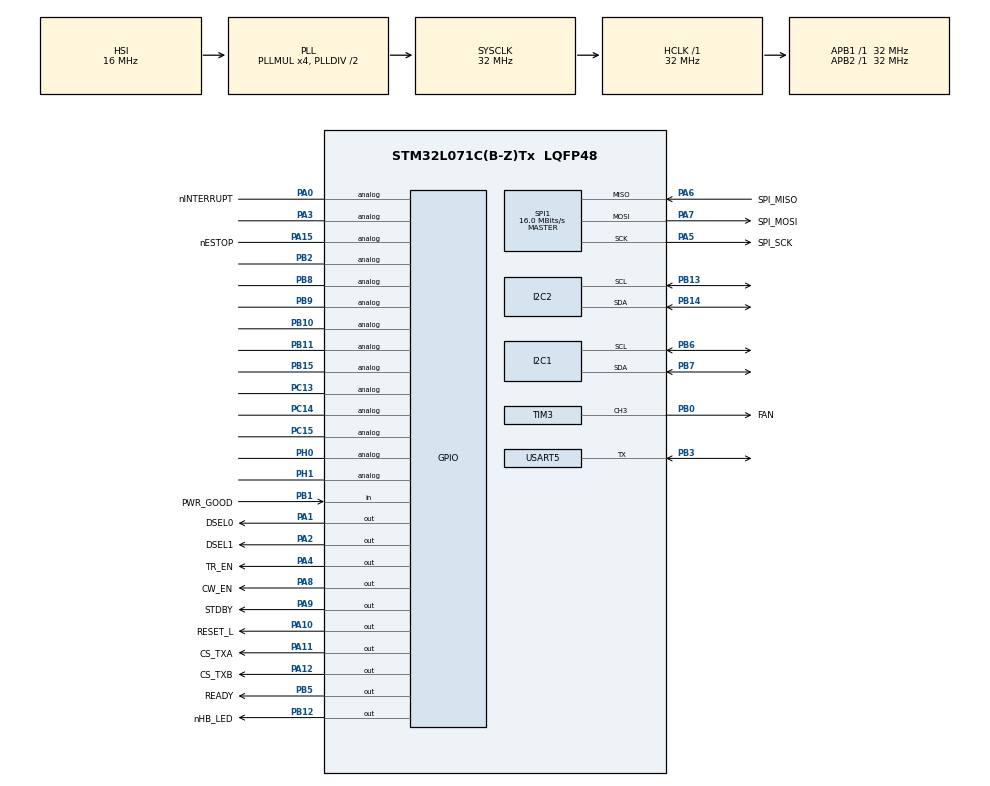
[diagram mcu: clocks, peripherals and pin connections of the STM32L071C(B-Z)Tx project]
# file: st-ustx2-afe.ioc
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CRC.CRCLength=CRC_POLYLENGTH_16B
CRC.DefaultInitValueUse=DEFAULT_INIT_VALUE_DISABLE
CRC.DefaultPolynomialUse=DEFAULT_POLYNOMIAL_DISABLE
CRC.GeneratingPolynomial=X12+X5+X0
CRC.InitValue=0xFFFF
Dma.I2C1_RX.3.Direction=DMA_PERIPH_TO_MEMORY
Dma.I2C1_RX.3.Instance=DMA1_Channel7
Dma.I2C1_RX.3.MemDataAlignment=DMA_MDATAALIGN_BYTE
Dma.I2C1_RX.3.MemInc=DMA_MINC_ENABLE
Dma.I2C1_RX.3.Mode=DMA_NORMAL
Dma.I2C1_RX.3.PeriphDataAlignment=DMA_PDATAALIGN_BYTE
Dma.I2C1_RX.3.PeriphInc=DMA_PINC_DISABLE
Dma.I2C1_RX.3.Priority=DMA_PRIORITY_LOW
Dma.I2C1_TX.2.Direction=DMA_MEMORY_TO_PERIPH
Dma.I2C1_TX.2.Instance=DMA1_Channel6
Dma.I2C1_TX.2.MemDataAlignment=DMA_MDATAALIGN_BYTE
Dma.I2C1_TX.2.MemInc=DMA_MINC_ENABLE
Dma.I2C1_TX.2.Mode=DMA_NORMAL
Dma.I2C1_TX.2.PeriphDataAlignment=DMA_PDATAALIGN_BYTE
Dma.I2C1_TX.2.PeriphInc=DMA_PINC_DISABLE
Dma.I2C1_TX.2.Priority=DMA_PRIORITY_LOW
Dma.Request0=USART5_RX
Dma.Request1=USART5_TX
Dma.Request2=I2C1_TX
Dma.Request3=I2C1_RX
Dma.USART5_RX.0.Direction=DMA_PERIPH_TO_MEMORY
Dma.USART5_RX.0.Instance=DMA1_Channel2
Dma.USART5_RX.0.MemDataAlignment=DMA_MDATAALIGN_BYTE
Dma.USART5_RX.0.MemInc=DMA_MINC_ENABLE
Dma.USART5_RX.0.Mode=DMA_NORMAL
Dma.USART5_RX.0.PeriphDataAlignment=DMA_PDATAALIGN_BYTE
Dma.USART5_RX.0.PeriphInc=DMA_PINC_DISABLE
Dma.USART5_RX.0.Priority=DMA_PRIORITY_LOW
Dma.USART5_TX.1.Direction=DMA_MEMORY_TO_PERIPH
Dma.USART5_TX.1.Instance=DMA1_Channel3
Dma.USART5_TX.1.MemDataAlignment=DMA_MDATAALIGN_BYTE
Dma.USART5_TX.1.MemInc=DMA_MINC_ENABLE
Dma.USART5_TX.1.Mode=DMA_NORMAL
Dma.USART5_TX.1.PeriphDataAlignment=DMA_PDATAALIGN_BYTE
Dma.USART5_TX.1.PeriphInc=DMA_PINC_DISABLE
Dma.USART5_TX.1.Priority=DMA_PRIORITY_LOW
I2C1.GeneralCallMode=I2C_GENERALCALL_DISABLE
I2C1.NoStretchMode=I2C_NOSTRETCH_DISABLE
I2C1.OwnAddress=0
I2C1.Timing=0x00707CBB
I2C2.NoStretchMode=I2C_NOSTRETCH_ENABLE
I2C2.OwnAddress=0x32
I2C2.Timing=0x00707CBB
Mcu.Family=STM32L0
Mcu.Name=STM32L071C(B-Z)Tx
Mcu.Package=LQFP48
NVIC.DMA1_Channel2_3_IRQn=true\:0\:0\:false\:false\:true\:false\:true\:true
NVIC.DMA1_Channel4_5_6_7_IRQn=true\:0\:0\:false\:false\:true\:false\:true\:true
NVIC.I2C1_IRQn=true\:0\:0\:false\:false\:true\:true\:true\:true
NVIC.I2C2_IRQn=true\:0\:0\:false\:false\:true\:true\:true\:true
NVIC.TIM2_IRQn=true\:3\:0\:false\:false\:true\:false\:true\:true
NVIC.TimeBase=TIM2_IRQn
NVIC.TimeBaseIP=TIM2
NVIC.USART4_5_IRQn=true\:0\:0\:false\:false\:true\:true\:true\:true
PA0.GPIO_Label=nINTERRUPT
PA0.Signal=GPIO_Analog
PA1.GPIO_Label=DSEL0
PA1.Signal=GPIO_Output
PA10.GPIO_Label=RESET_L
PA10.Signal=GPIO_Output
PA11.GPIO_Label=CS_TXA
PA11.Signal=GPIO_Output
PA12.GPIO_Label=CS_TXB
PA12.Signal=GPIO_Output
PA13.Mode=Serial_Wire
PA13.Signal=SYS_SWDIO
PA14.Mode=Serial_Wire
PA14.Signal=SYS_SWCLK
PA15.GPIO_Label=nESTOP
PA15.Signal=GPIO_Analog
PA2.GPIO_Label=DSEL1
PA2.Signal=GPIO_Output
PA3.Signal=GPIO_Analog
PA4.GPIO_Label=TR_EN
PA4.Signal=GPIO_Output
PA5.GPIO_Label=SPI_SCK
PA5.Mode=Full_Duplex_Master
PA5.Signal=SPI1_SCK
PA6.GPIO_Label=SPI_MISO
PA6.Mode=Full_Duplex_Master
PA6.Signal=SPI1_MISO
PA7.GPIO_Label=SPI_MOSI
PA7.Mode=Full_Duplex_Master
PA7.Signal=SPI1_MOSI
PA8.GPIO_Label=CW_EN
PA8.Signal=GPIO_Output
PA9.GPIO_Label=STDBY
PA9.Signal=GPIO_Output
PB0.GPIO_Label=FAN
PB0.Signal=S_TIM3_CH3
PB1.GPIO_Label=PWR_GOOD
PB1.Signal=GPIO_Input
PB10.Signal=GPIO_Analog
PB11.Signal=GPIO_Analog
PB12.GPIO_Label=nHB_LED
PB12.Signal=GPIO_Output
PB13.Mode=I2C
PB13.Signal=I2C2_SCL
PB14.Mode=I2C
PB14.Signal=I2C2_SDA
PB15.Signal=GPIO_Analog
PB2.Signal=GPIO_Analog
PB3.Mode=Half_duplex(single_wire_mode)
PB3.Signal=USART5_TX
PB4.Signal=S_TIM22_CH1
PB5.GPIO_Label=READY
PB5.Signal=GPIO_Output
PB6.Mode=I2C
PB6.Signal=I2C1_SCL
PB7.Mode=I2C
PB7.Signal=I2C1_SDA
PB8.Signal=GPIO_Analog
PB9.Signal=GPIO_Analog
PC13.Signal=GPIO_Analog
PC14-OSC32_IN.Signal=GPIO_Analog
PC15-OSC32_OUT.Signal=GPIO_Analog
PH0-OSC_IN.Signal=GPIO_Analog
PH1-OSC_OUT.Signal=GPIO_Analog
ProjectManager.HeapSize=0x200
ProjectManager.StackSize=0x400
ProjectManager.TargetToolchain=STM32CubeIDE
RCC.AHBFreq_Value=32000000
RCC.APB1Freq_Value=32000000
RCC.APB1TimFreq_Value=32000000
RCC.APB2Freq_Value=32000000
RCC.APB2TimFreq_Value=32000000
RCC.HCLKFreq_Value=32000000
RCC.HSE_VALUE=8000000
RCC.HSI16_VALUE=16000000
RCC.HSI_VALUE=16000000
RCC.LSE_VALUE=32768
RCC.MSI_VALUE=2097000
RCC.PLLMUL=RCC_PLLMUL_4
RCC.SYSCLKFreq_VALUE=32000000
RCC.SYSCLKSource=RCC_SYSCLKSOURCE_PLLCLK
RCC.VCOOutputFreq_Value=64000000
SH.S_TIM22_CH1.0=TIM22_CH1
SH.S_TIM3_CH3.0=TIM3_CH3,PWM Generation3 CH3
SPI1.CalculateBaudRate=16.0 MBits/s
SPI1.Direction=SPI_DIRECTION_2LINES
SPI1.Mode=SPI_MODE_MASTER
SPI1.VirtualType=VM_MASTER
TIM3.Channel-PWM\ Generation3\ CH3=TIM_CHANNEL_3
USART5.VirtualMode-Half_duplex(single_wire_mode)=VM_ASYNC
VP_CRC_VS_CRC.Mode=CRC_Activate
VP_SYS_VS_tim2.Mode=TIM2
VP_TIM21_VS_ClockSourceINT.Mode=Internal
board=custom

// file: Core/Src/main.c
/* USER CODE BEGIN Header */
/**
 ******************************************************************************
 * @file           : main.c
 * @brief          : Main program body
 ******************************************************************************
 * @attention
 *
 * Copyright (c) 2023 STMicroelectronics.
 * All rights reserved.
 *
 * This software is licensed under terms that can be found in the LICENSE file
 * in the root directory of this software component.
 * If no LICENSE file comes with this software, it is provided AS-IS.
 *
 ******************************************************************************
 */
/* USER CODE END Header */
#include "main.h"

/* USER CODE BEGIN Includes */
#include "common.h"
#include "i2c_slave.h"
#include "i2c_master.h"
#include "afe_config.h"
#include "config_CDCE6214_64MHZ.h"
#include "utils.h"
#include "logging.h"
#include "tx7332.h"
#include "demo.h"
#include <stdio.h>

/* USER CODE END Includes */

/* USER CODE BEGIN PD */
#define ARRAY_SIZE(arr) (sizeof(arr) / sizeof((arr)[0]))

/* USER CODE END PD */

CRC_HandleTypeDef hcrc;

I2C_HandleTypeDef hi2c1;
I2C_HandleTypeDef hi2c2;
DMA_HandleTypeDef hdma_i2c1_tx;
DMA_HandleTypeDef hdma_i2c1_rx;

SPI_HandleTypeDef hspi1;

TIM_HandleTypeDef htim3;
TIM_HandleTypeDef htim21;

UART_HandleTypeDef huart5;
DMA_HandleTypeDef hdma_usart5_rx;
DMA_HandleTypeDef hdma_usart5_tx;

/* USER CODE BEGIN PV */
DeviceConfig_t myConfig;

TX7332 tx[2];

static uint8_t FIRMWARE_VERSION_DATA[3] = {1, 0, 4};
static uint32_t id_words[3] = {0};

/* USER CODE END PV */

void SystemClock_Config(void);
static void MX_GPIO_Init(void);
static void MX_DMA_Init(void);
static void MX_I2C2_Init(void);
static void MX_SPI1_Init(void);
static void MX_USART5_UART_Init(void);
static void MX_TIM3_Init(void);
static void MX_I2C1_Init(void);
static void MX_CRC_Init(void);
static void MX_TIM21_Init(void);

/* USER CODE BEGIN 0 */

static void PrintI2CSpeed(I2C_HandleTypeDef *hi2c)
{
  uint32_t timing = hi2c->Init.Timing;
  uint32_t pclk = HAL_RCC_GetPCLK1Freq(); // Get the peripheral clock frequency

  // Calculate the I2C speed in Hz
  uint32_t i2c_speed = pclk / ((timing & 0xFFFF) + 1);

  printf("I2C Speed: %ld kHz\r\n", i2c_speed / 10); // Print the I2C speed in kHz
  printf("I2C Slave Addr: 0x%02x\r\n\r\n", (uint8_t)(hi2c->Init.OwnAddress1 >> 1));
}

static bool ConfigureClock()
{

	  HAL_Delay(25);
	  I2C_write_CDCE6214_reg(0x67, 0x0000, 0x1000);
	  HAL_Delay(25);
	  I2C_write_CDCE6214_reg(0x67, 0x000F, 0x5020);
	  HAL_Delay(25);

	  printf("Configuring Clock chip\r\n");
	  // Calculate the number of elements in the array
	  size_t num_elements = sizeof(blur6214_64mhz_values) / sizeof(uint32_t);

	  // Iterate through the array and split each uint32_t value into two uint16_t values
	  for (size_t i = 0; i < num_elements; i++)
	  {
	    uint32_t value = blur6214_64mhz_values[i];

	    // Split the value into upper and lower words
	    uint16_t reg_addr = (uint16_t)(value >> 16); // Upper word is reg_addr
	    uint16_t reg_value = (uint16_t)value;        // Lower word is reg_value

	    // Print the split values
	    if (!I2C_write_CDCE6214_reg(0x67, reg_addr, reg_value))
	    {
	      printf("failed Index %zu: reg_addr = 0x%04X, reg_value = 0x%04X\r\n", i, reg_addr, reg_value);
	      return false;
	    }
	    HAL_Delay(1);
	  }
	  HAL_Delay(100);
	  I2C_write_CDCE6214_reg(0x67, 0x0000, 0x1110);
	  HAL_Delay(100);
	  I2C_write_CDCE6214_reg(0x67, 0x0000, 0x1100);
	  HAL_Delay(50);

	  return true;
}
/* USER CODE END 0 */

int main(void)
{

  /* USER CODE BEGIN 1 */
  I2C_TX_Packet ret_data;
  uint8_t ret_data_buffer[I2C_BUFFER_SIZE] = {0};
  uint32_t reg_data_buff[62] = {0};
  uint16_t address;
  uint32_t value;
  uint8_t reg_count;

  /* USER CODE END 1 */

  /* MCU Configuration--------------------------------------------------------*/

  /* Reset of all peripherals, Initializes the Flash interface and the Systick. */
  HAL_Init();

  /* Configure the system clock */
  SystemClock_Config();

  /* USER CODE BEGIN SysInit */
  loadDeviceConfig(&myConfig);

  /* USER CODE END SysInit */

  /* Initialize all configured peripherals */
  MX_GPIO_Init();
  MX_DMA_Init();
  MX_I2C2_Init();
  MX_SPI1_Init();
  MX_USART5_UART_Init();
  MX_TIM3_Init();
  MX_I2C1_Init();
  MX_CRC_Init();
  MX_TIM21_Init();
  /* USER CODE BEGIN 2 */

  printf("\033c");

  init_dma_logging();
  printf("Openwater USTX2 AFE Development FW v%d.%d.%d\r\n\r\n",FIRMWARE_VERSION_DATA[0], FIRMWARE_VERSION_DATA[1], FIRMWARE_VERSION_DATA[2]);
  printf("EEPROM I2C: 0x%02x\r\n", myConfig.i2c_address);
  printf("CPU Clock Frequency: %lu MHz\r\n", HAL_RCC_GetSysClockFreq() / 1000000);

  // Initializing I2C Slave
  data_available = NULL;
  I2C_Slave_Init(myConfig.i2c_address);
  PrintI2CSpeed(&hi2c1);

  printf("Scanning Local I2C bus\r\n");
  I2C_scan();
  ConfigureClock();

  printf("Initializing TX7332\r\n");
  HAL_GPIO_WritePin(GPIOC, RESET_L_Pin | CW_EN_Pin | STDBY_Pin, GPIO_PIN_RESET);
  HAL_GPIO_WritePin(GPIOA, DSEL0_Pin | DSEL1_Pin | TR_EN_Pin, GPIO_PIN_RESET);
  HAL_GPIO_WritePin(GPIOA, CS_TXA_Pin | CS_TXB_Pin, GPIO_PIN_RESET); // TODO: Verify initial state

  // reset TX7332
  TX7332_Reset();
  HAL_Delay(25);

  // configure CS for TX7332
  TX7332_Init(&tx[0], CS_TXA_GPIO_Port, CS_TXA_Pin);
  TX7332_Init(&tx[1], CS_TXB_GPIO_Port, CS_TXB_Pin);

  HAL_Delay(10);

  HAL_GPIO_WritePin(CW_EN_GPIO_Port, CW_EN_Pin, GPIO_PIN_RESET);
  HAL_GPIO_WritePin(TR_EN_GPIO_Port, TR_EN_Pin, GPIO_PIN_SET);
  HAL_GPIO_WritePin(DSEL0_GPIO_Port, DSEL0_Pin, GPIO_PIN_RESET);
  HAL_GPIO_WritePin(DSEL1_GPIO_Port, DSEL1_Pin, GPIO_PIN_RESET);

  //  printf("Writing Demo Registers\r\n");
  //  write_demo_registers(&tx[0]);
  //  HAL_Delay(10);

#ifdef RUN_TESTS

  for (uint16_t x = 0; x < 86; x++)
  {
    printf("Read R%d: ", x);
    uint16_t reg_val = I2C_read_CDCE6214_reg(0x67, x);
    printf("0x%04x\r\n", reg_val);
  }

  HAL_Delay(25);

  if (crc_test() == 1)
  {
    printf("CRC Test Failed\r\n\r\n");
  }
  else
  {
    printf("CRC Test Passed\r\n\r\n");
  }
#endif

  /* USER CODE END 2 */

  /* Infinite loop */
  while (1)
  {

    /* USER CODE BEGIN 3 */
    memset(ret_data_buffer, 0, I2C_BUFFER_SIZE);
    memset((uint8_t *)&ret_data, 0, sizeof(ret_data));

    if (data_available)
    {
      // Process command
      status_packet->id = data_available->id;
      status_packet->cmd = data_available->cmd;
      status_packet->status = 0xFF;
      status_packet->data_len = 0;

      // print received packet
      // i2c_tx_packet_print(data_available);
      switch (data_available->cmd)
      {
      case OW_CMD_PING:
        // printf("AFE Ping\r\n");
        status_packet->cmd = OW_CMD_PONG;
        status_packet->status = 0x00;
        status_packet->data_len = 0;
        break;
      case OW_CMD_PONG:
    	  // printf("AFE Pong\r\n");
        status_packet->cmd = OW_CMD_PING;
        status_packet->status = 0x00;
        status_packet->data_len = 0;
        break;
      case OW_CMD_TOGGLE_LED:
    	  // printf("Toggling LED\r\n");
        HAL_GPIO_TogglePin(nHB_LED_GPIO_Port, nHB_LED_Pin);
        status_packet->status = 0x00;
        status_packet->data_len = 0;
        break;
      case OW_CMD_ECHO:
    	  // printf("AFE Echo\r\n");
        status_packet->status = 0x00;
        ret_data.cmd = data_available->cmd;
        ret_data.id = data_available->id;
        ret_data.reserved = 0;
        if (data_available->data_len > 0)
        {
          ret_data.data_len = data_available->data_len;
          ret_data.pData = data_available->pData;
        }
        else
        {
          ret_data.data_len = 0;
          ret_data.pData = NULL;
          status_packet->data_len = 0;
        }
        set_transmit_buffer(&ret_data, data_available->id, data_available->cmd, OW_CODE_SUCCESS);

        break;
      case OW_CMD_VERSION:
    	  // printf("AFE Version\r\n");
        status_packet->status = 0x00;
        ret_data.cmd = data_available->cmd;
        ret_data.id = data_available->id;
        ret_data.reserved = 0;
        ret_data.data_len = sizeof(FIRMWARE_VERSION_DATA);
        ret_data.pData = FIRMWARE_VERSION_DATA;
        set_transmit_buffer(&ret_data, data_available->id, data_available->cmd, OW_CODE_SUCCESS);
        break;
      case OW_CMD_HWID:
    	  // printf("AFE CHIP ID\r\n");
        status_packet->status = 0x00;
        ret_data.cmd = data_available->cmd;
        ret_data.id = data_available->id;
        id_words[0] = HAL_GetUIDw0();
        id_words[1] = HAL_GetUIDw1();
        id_words[2] = HAL_GetUIDw2();

        // Print the contents of id_words array in hexadecimal format
        // printf("id_words[0]: 0x%lx\r\n", id_words[0]);
        // printf("id_words[1]: 0x%lx\r\n", id_words[1]);
        // printf("id_words[2]: 0x%lx\r\n", id_words[2]);

        ret_data.data_len = sizeof(id_words);
        ret_data.pData = (uint8_t *)id_words;
        set_transmit_buffer(&ret_data, data_available->id, data_available->cmd, OW_CODE_SUCCESS);
        break;
      case OW_CMD_RESET:
    	  // printf("AFE RESET\r\n");
        status_packet->cmd = OW_CMD_RESET;
        status_packet->status = 0x00;
        status_packet->data_len = 0;
        HAL_Delay(1);
        // Reset the board
        NVIC_SystemReset();
        break;
      case OW_AFE_ENUM_TX7332:
    	  // printf("Enumerate TX7332 ICs %d \r\n", ARRAY_SIZE(tx));
        status_packet->status = 0x00;
        status_packet->data_len = 0;
        status_packet->reserved = (uint8_t)ARRAY_SIZE(tx);
        set_transmit_buffer(NULL, data_available->id, data_available->cmd, OW_CODE_SUCCESS);
        break;
      case OW_TX7332_DEMO:
    	// printf("Writing Demo TX7332 [0] Register Set\r\n");
        write_demo_registers(&tx[0]);
        // printf("Writing Demo TX7332 [1] Register Set\r\n");
        write_demo_registers(&tx[1]);
        status_packet->status = 0x00;
        status_packet->data_len = 0;
        // HAL_Delay(10);
        // printf("Verifying Demo TX7332 Register Set\r\n");
        // verify_demo_registers(&tx[0]);
        break;
      case OW_TX7332_WREG:  //
        // printf("Write REG TX[%d] \r\n", data_available->reserved); //0x%04x : 0x08x
        if(data_available->reserved > 1){
            status_packet->status = OW_CODE_IDENT_ERROR;
            status_packet->data_len = 0;
        	break;
        }

        if(data_available->data_len == 6)
        {
			// Unpack 16-bit address (first 2 bytes, little-endian)
			address = data_available->pData[0] | (data_available->pData[1] << 8);
			// Unpack 32-bit value (next 4 bytes, little-endian)
			value = data_available->pData[2] | (data_available->pData[3] << 8) | (data_available->pData[4] << 16) | (data_available->pData[5] << 24);
			// printf("Address: 0x%04x, Value: 0x%08lx\r\n", address, value);
			TX7332_WriteReg(&tx[data_available->reserved], address, value);
        }else{
        	printf("Invalid data \r\n");
            status_packet->status = OW_CODE_DATA_ERROR;
            status_packet->data_len = 0;
        	break;
        }

        status_packet->status = OW_CODE_SUCCESS;
        status_packet->data_len = 0;
        break;
      case OW_TX7332_RREG:
        // printf("Read REG TX[%d] \r\n", data_available->reserved); //0x%04x : 0x08x
        if(data_available->reserved > 1){
            status_packet->status = OW_CODE_IDENT_ERROR;
            status_packet->data_len = 0;
        	break;
        }

        if(data_available->data_len == 2)
        {
			// Unpack 16-bit address (first 2 bytes, little-endian)
			address = data_available->pData[0] | (data_available->pData[1] << 8);
			// Set value to 0 before read
			value = 0;
			// printf("Address: 0x%04x\r\n", address);
			value = TX7332_ReadReg(&tx[data_available->reserved], address);

            // Package response
	        ret_data_buffer[0] = value & 0xFF;
	        ret_data_buffer[1] = (value >> 8) & 0xFF;
	        ret_data_buffer[2] = (value >> 16) & 0xFF;
	        ret_data_buffer[3] = (value >> 24) & 0xFF;

	        ret_data.cmd = data_available->cmd;
	        ret_data.id = data_available->id;
	        ret_data.reserved = data_available->reserved;
	        ret_data.data_len = sizeof(value);
	        ret_data.pData = ret_data_buffer;
	        set_transmit_buffer(&ret_data, data_available->id, data_available->cmd, OW_CODE_SUCCESS);

        }else{
        	printf("Invalid data \r\n");
            status_packet->status = OW_CODE_DATA_ERROR;
            status_packet->data_len = 0;
        	break;
        }

        break;
      case OW_TX7332_WBLOCK:
        if(data_available->reserved > 1){
            status_packet->status = OW_CODE_IDENT_ERROR;
            status_packet->data_len = 0;
        	break;
        }

        if(data_available->data_len >= 7)
        {

			// Unpack 16-bit address (first 2 bytes, little-endian)
			address = data_available->pData[0] | (data_available->pData[1] << 8);
			// Unpack 16-bit address (first 2 bytes, little-endian)
			reg_count = data_available->pData[2];
			// byte [3] dummy byte
			// Check if the actual data length matches expected length
			if(data_available->data_len != (4 + (4 * reg_count)))
			{
	        	printf("Invalid data size does not match \r\n");
	            status_packet->status = OW_CODE_DATA_ERROR;
	            status_packet->data_len = 0;
	        	break;
			}

			// printf("Write Block Start Addr: 0x%04x, Length: %d\r\n", address, reg_count);
			memset(reg_data_buff, 0, 62 * sizeof(uint32_t));
			memcpy((uint8_t*)reg_data_buff, &data_available->pData[4], sizeof(uint32_t) * reg_count);
			TX7332_WriteBulk(&tx[data_available->reserved], address, reg_data_buff, reg_count);

	        ret_data.cmd = data_available->cmd;
	        ret_data.id = data_available->id;
	        ret_data.reserved = data_available->reserved;
	        ret_data.data_len = 0;
	        ret_data.pData = NULL;
        }else{
        	printf("Invalid data \r\n");
            status_packet->status = OW_CODE_DATA_ERROR;
            status_packet->data_len = 0;
        	break;
        }

        status_packet->status = OW_CODE_SUCCESS;
        status_packet->data_len = 0;
        break;
      default:
        printf("Unknown Command: 0x%02x\r\n", data_available->cmd);
        break;
      }
      data_available = NULL;
    }

    HAL_Delay(1);
  }
  /* USER CODE END 3 */
}

void SystemClock_Config(void)
{
  RCC_OscInitTypeDef RCC_OscInitStruct = {0};
  RCC_ClkInitTypeDef RCC_ClkInitStruct = {0};
  RCC_PeriphCLKInitTypeDef PeriphClkInit = {0};

  /** Configure the main internal regulator output voltage
  */
  __HAL_PWR_VOLTAGESCALING_CONFIG(PWR_REGULATOR_VOLTAGE_SCALE1);

  /** Initializes the RCC Oscillators according to the specified parameters
  * in the RCC_OscInitTypeDef structure.
  */
  RCC_OscInitStruct.OscillatorType = RCC_OSCILLATORTYPE_HSI;
  RCC_OscInitStruct.HSIState = RCC_HSI_ON;
  RCC_OscInitStruct.HSICalibrationValue = RCC_HSICALIBRATION_DEFAULT;
  RCC_OscInitStruct.PLL.PLLState = RCC_PLL_ON;
  RCC_OscInitStruct.PLL.PLLSource = RCC_PLLSOURCE_HSI;
  RCC_OscInitStruct.PLL.PLLMUL = RCC_PLLMUL_4;
  RCC_OscInitStruct.PLL.PLLDIV = RCC_PLLDIV_2;
  if (HAL_RCC_OscConfig(&RCC_OscInitStruct) != HAL_OK)
  {
    Error_Handler();
  }

  /** Initializes the CPU, AHB and APB buses clocks
  */
  RCC_ClkInitStruct.ClockType = RCC_CLOCKTYPE_HCLK|RCC_CLOCKTYPE_SYSCLK
                              |RCC_CLOCKTYPE_PCLK1|RCC_CLOCKTYPE_PCLK2;
  RCC_ClkInitStruct.SYSCLKSource = RCC_SYSCLKSOURCE_PLLCLK;
  RCC_ClkInitStruct.AHBCLKDivider = RCC_SYSCLK_DIV1;
  RCC_ClkInitStruct.APB1CLKDivider = RCC_HCLK_DIV1;
  RCC_ClkInitStruct.APB2CLKDivider = RCC_HCLK_DIV1;

  if (HAL_RCC_ClockConfig(&RCC_ClkInitStruct, FLASH_LATENCY_1) != HAL_OK)
  {
    Error_Handler();
  }
  PeriphClkInit.PeriphClockSelection = RCC_PERIPHCLK_I2C1;
  PeriphClkInit.I2c1ClockSelection = RCC_I2C1CLKSOURCE_PCLK1;
  if (HAL_RCCEx_PeriphCLKConfig(&PeriphClkInit) != HAL_OK)
  {
    Error_Handler();
  }
}

static void MX_CRC_Init(void)
{

  hcrc.Instance = CRC;
  hcrc.Init.DefaultPolynomialUse = DEFAULT_POLYNOMIAL_DISABLE;
  hcrc.Init.DefaultInitValueUse = DEFAULT_INIT_VALUE_DISABLE;
  hcrc.Init.GeneratingPolynomial = 4129;
  hcrc.Init.CRCLength = CRC_POLYLENGTH_16B;
  hcrc.Init.InitValue = 0xFFFF;
  hcrc.Init.InputDataInversionMode = CRC_INPUTDATA_INVERSION_NONE;
  hcrc.Init.OutputDataInversionMode = CRC_OUTPUTDATA_INVERSION_DISABLE;
  hcrc.InputDataFormat = CRC_INPUTDATA_FORMAT_BYTES;
  if (HAL_CRC_Init(&hcrc) != HAL_OK)
  {
    Error_Handler();
  }

}

static void MX_I2C1_Init(void)
{

  hi2c1.Instance = I2C1;
  hi2c1.Init.Timing = 0x00707CBB;
  hi2c1.Init.OwnAddress1 = 0;
  hi2c1.Init.AddressingMode = I2C_ADDRESSINGMODE_7BIT;
  hi2c1.Init.DualAddressMode = I2C_DUALADDRESS_DISABLE;
  hi2c1.Init.OwnAddress2 = 0;
  hi2c1.Init.OwnAddress2Masks = I2C_OA2_NOMASK;
  hi2c1.Init.GeneralCallMode = I2C_GENERALCALL_DISABLE;
  hi2c1.Init.NoStretchMode = I2C_NOSTRETCH_DISABLE;
  if (HAL_I2C_Init(&hi2c1) != HAL_OK)
  {
    Error_Handler();
  }

  /** Configure Analogue filter
  */
  if (HAL_I2CEx_ConfigAnalogFilter(&hi2c1, I2C_ANALOGFILTER_ENABLE) != HAL_OK)
  {
    Error_Handler();
  }

  /** Configure Digital filter
  */
  if (HAL_I2CEx_ConfigDigitalFilter(&hi2c1, 0) != HAL_OK)
  {
    Error_Handler();
  }

}

static void MX_I2C2_Init(void)
{

  hi2c2.Instance = I2C2;
  hi2c2.Init.Timing = 0x00707CBB;
  hi2c2.Init.OwnAddress1 = 100;
  hi2c2.Init.AddressingMode = I2C_ADDRESSINGMODE_7BIT;
  hi2c2.Init.DualAddressMode = I2C_DUALADDRESS_DISABLE;
  hi2c2.Init.OwnAddress2 = 0;
  hi2c2.Init.OwnAddress2Masks = I2C_OA2_NOMASK;
  hi2c2.Init.GeneralCallMode = I2C_GENERALCALL_DISABLE;
  hi2c2.Init.NoStretchMode = I2C_NOSTRETCH_ENABLE;
  if (HAL_I2C_Init(&hi2c2) != HAL_OK)
  {
    Error_Handler();
  }

  /** Configure Analogue filter
  */
  if (HAL_I2CEx_ConfigAnalogFilter(&hi2c2, I2C_ANALOGFILTER_ENABLE) != HAL_OK)
  {
    Error_Handler();
  }

  /** Configure Digital filter
  */
  if (HAL_I2CEx_ConfigDigitalFilter(&hi2c2, 0) != HAL_OK)
  {
    Error_Handler();
  }

}

static void MX_SPI1_Init(void)
{

  /* SPI1 parameter configuration*/
  hspi1.Instance = SPI1;
  hspi1.Init.Mode = SPI_MODE_MASTER;
  hspi1.Init.Direction = SPI_DIRECTION_2LINES;
  hspi1.Init.DataSize = SPI_DATASIZE_8BIT;
  hspi1.Init.CLKPolarity = SPI_POLARITY_LOW;
  hspi1.Init.CLKPhase = SPI_PHASE_1EDGE;
  hspi1.Init.NSS = SPI_NSS_SOFT;
  hspi1.Init.BaudRatePrescaler = SPI_BAUDRATEPRESCALER_2;
  hspi1.Init.FirstBit = SPI_FIRSTBIT_MSB;
  hspi1.Init.TIMode = SPI_TIMODE_DISABLE;
  hspi1.Init.CRCCalculation = SPI_CRCCALCULATION_DISABLE;
  hspi1.Init.CRCPolynomial = 7;
  if (HAL_SPI_Init(&hspi1) != HAL_OK)
  {
    Error_Handler();
  }

}

static void MX_TIM3_Init(void)
{

  TIM_MasterConfigTypeDef sMasterConfig = {0};
  TIM_OC_InitTypeDef sConfigOC = {0};

  htim3.Instance = TIM3;
  htim3.Init.Prescaler = 0;
  htim3.Init.CounterMode = TIM_COUNTERMODE_UP;
  htim3.Init.Period = 65535;
  htim3.Init.ClockDivision = TIM_CLOCKDIVISION_DIV1;
  htim3.Init.AutoReloadPreload = TIM_AUTORELOAD_PRELOAD_DISABLE;
  if (HAL_TIM_PWM_Init(&htim3) != HAL_OK)
  {
    Error_Handler();
  }
  sMasterConfig.MasterOutputTrigger = TIM_TRGO_RESET;
  sMasterConfig.MasterSlaveMode = TIM_MASTERSLAVEMODE_DISABLE;
  if (HAL_TIMEx_MasterConfigSynchronization(&htim3, &sMasterConfig) != HAL_OK)
  {
    Error_Handler();
  }
  sConfigOC.OCMode = TIM_OCMODE_PWM1;
  sConfigOC.Pulse = 0;
  sConfigOC.OCPolarity = TIM_OCPOLARITY_HIGH;
  sConfigOC.OCFastMode = TIM_OCFAST_DISABLE;
  if (HAL_TIM_PWM_ConfigChannel(&htim3, &sConfigOC, TIM_CHANNEL_3) != HAL_OK)
  {
    Error_Handler();
  }
  HAL_TIM_MspPostInit(&htim3);

}

static void MX_TIM21_Init(void)
{

  TIM_ClockConfigTypeDef sClockSourceConfig = {0};
  TIM_MasterConfigTypeDef sMasterConfig = {0};

  htim21.Instance = TIM21;
  htim21.Init.Prescaler = 0;
  htim21.Init.CounterMode = TIM_COUNTERMODE_UP;
  htim21.Init.Period = 65535;
  htim21.Init.ClockDivision = TIM_CLOCKDIVISION_DIV1;
  htim21.Init.AutoReloadPreload = TIM_AUTORELOAD_PRELOAD_DISABLE;
  if (HAL_TIM_Base_Init(&htim21) != HAL_OK)
  {
    Error_Handler();
  }
  sClockSourceConfig.ClockSource = TIM_CLOCKSOURCE_INTERNAL;
  if (HAL_TIM_ConfigClockSource(&htim21, &sClockSourceConfig) != HAL_OK)
  {
    Error_Handler();
  }
  sMasterConfig.MasterOutputTrigger = TIM_TRGO_RESET;
  sMasterConfig.MasterSlaveMode = TIM_MASTERSLAVEMODE_DISABLE;
  if (HAL_TIMEx_MasterConfigSynchronization(&htim21, &sMasterConfig) != HAL_OK)
  {
    Error_Handler();
  }

}

static void MX_USART5_UART_Init(void)
{

  huart5.Instance = USART5;
  huart5.Init.BaudRate = 115200;
  huart5.Init.WordLength = UART_WORDLENGTH_8B;
  huart5.Init.StopBits = UART_STOPBITS_1;
  huart5.Init.Parity = UART_PARITY_NONE;
  huart5.Init.Mode = UART_MODE_TX_RX;
  huart5.Init.HwFlowCtl = UART_HWCONTROL_NONE;
  huart5.Init.OverSampling = UART_OVERSAMPLING_16;
  huart5.Init.OneBitSampling = UART_ONE_BIT_SAMPLE_DISABLE;
  huart5.AdvancedInit.AdvFeatureInit = UART_ADVFEATURE_NO_INIT;
  if (HAL_HalfDuplex_Init(&huart5) != HAL_OK)
  {
    Error_Handler();
  }

}

static void MX_DMA_Init(void)
{

  /* DMA controller clock enable */
  __HAL_RCC_DMA1_CLK_ENABLE();

  /* DMA interrupt init */
  /* DMA1_Channel2_3_IRQn interrupt configuration */
  HAL_NVIC_SetPriority(DMA1_Channel2_3_IRQn, 0, 0);
  HAL_NVIC_EnableIRQ(DMA1_Channel2_3_IRQn);
  /* DMA1_Channel4_5_6_7_IRQn interrupt configuration */
  HAL_NVIC_SetPriority(DMA1_Channel4_5_6_7_IRQn, 0, 0);
  HAL_NVIC_EnableIRQ(DMA1_Channel4_5_6_7_IRQn);

}

static void MX_GPIO_Init(void)
{
  GPIO_InitTypeDef GPIO_InitStruct = {0};

  /* GPIO Ports Clock Enable */
  __HAL_RCC_GPIOC_CLK_ENABLE();
  __HAL_RCC_GPIOH_CLK_ENABLE();
  __HAL_RCC_GPIOA_CLK_ENABLE();
  __HAL_RCC_GPIOB_CLK_ENABLE();

  /*Configure GPIO pin Output Level */
  HAL_GPIO_WritePin(GPIOA, DSEL0_Pin|DSEL1_Pin|TR_EN_Pin|CW_EN_Pin
                          |STDBY_Pin|RESET_L_Pin|CS_TXA_Pin|CS_TXB_Pin, GPIO_PIN_RESET);

  /*Configure GPIO pin Output Level */
  HAL_GPIO_WritePin(GPIOB, nHB_LED_Pin|READY_Pin, GPIO_PIN_RESET);

  /*Configure GPIO pins : PC13 PC14 PC15 */
  GPIO_InitStruct.Pin = GPIO_PIN_13|GPIO_PIN_14|GPIO_PIN_15;
  GPIO_InitStruct.Mode = GPIO_MODE_ANALOG;
  GPIO_InitStruct.Pull = GPIO_NOPULL;
  HAL_GPIO_Init(GPIOC, &GPIO_InitStruct);

  /*Configure GPIO pins : PH0 PH1 */
  GPIO_InitStruct.Pin = GPIO_PIN_0|GPIO_PIN_1;
  GPIO_InitStruct.Mode = GPIO_MODE_ANALOG;
  GPIO_InitStruct.Pull = GPIO_NOPULL;
  HAL_GPIO_Init(GPIOH, &GPIO_InitStruct);

  /*Configure GPIO pins : nINTERRUPT_Pin PA3 nESTOP_Pin */
  GPIO_InitStruct.Pin = nINTERRUPT_Pin|GPIO_PIN_3|nESTOP_Pin;
  GPIO_InitStruct.Mode = GPIO_MODE_ANALOG;
  GPIO_InitStruct.Pull = GPIO_NOPULL;
  HAL_GPIO_Init(GPIOA, &GPIO_InitStruct);

  /*Configure GPIO pins : DSEL0_Pin DSEL1_Pin TR_EN_Pin CW_EN_Pin
                           STDBY_Pin RESET_L_Pin CS_TXA_Pin CS_TXB_Pin */
  GPIO_InitStruct.Pin = DSEL0_Pin|DSEL1_Pin|TR_EN_Pin|CW_EN_Pin
                          |STDBY_Pin|RESET_L_Pin|CS_TXA_Pin|CS_TXB_Pin;
  GPIO_InitStruct.Mode = GPIO_MODE_OUTPUT_PP;
  GPIO_InitStruct.Pull = GPIO_NOPULL;
  GPIO_InitStruct.Speed = GPIO_SPEED_FREQ_LOW;
  HAL_GPIO_Init(GPIOA, &GPIO_InitStruct);

  /*Configure GPIO pin : PWR_GOOD_Pin */
  GPIO_InitStruct.Pin = PWR_GOOD_Pin;
  GPIO_InitStruct.Mode = GPIO_MODE_INPUT;
  GPIO_InitStruct.Pull = GPIO_NOPULL;
  HAL_GPIO_Init(PWR_GOOD_GPIO_Port, &GPIO_InitStruct);

  /*Configure GPIO pins : PB2 PB10 PB11 PB15
                           PB8 PB9 */
  GPIO_InitStruct.Pin = GPIO_PIN_2|GPIO_PIN_10|GPIO_PIN_11|GPIO_PIN_15
                          |GPIO_PIN_8|GPIO_PIN_9;
  GPIO_InitStruct.Mode = GPIO_MODE_ANALOG;
  GPIO_InitStruct.Pull = GPIO_NOPULL;
  HAL_GPIO_Init(GPIOB, &GPIO_InitStruct);

  /*Configure GPIO pins : nHB_LED_Pin READY_Pin */
  GPIO_InitStruct.Pin = nHB_LED_Pin|READY_Pin;
  GPIO_InitStruct.Mode = GPIO_MODE_OUTPUT_PP;
  GPIO_InitStruct.Pull = GPIO_NOPULL;
  GPIO_InitStruct.Speed = GPIO_SPEED_FREQ_LOW;
  HAL_GPIO_Init(GPIOB, &GPIO_InitStruct);

  /*Configure GPIO pin : PB4 */
  GPIO_InitStruct.Pin = GPIO_PIN_4;
  GPIO_InitStruct.Mode = GPIO_MODE_AF_PP;
  GPIO_InitStruct.Pull = GPIO_NOPULL;
  GPIO_InitStruct.Speed = GPIO_SPEED_FREQ_LOW;
  GPIO_InitStruct.Alternate = GPIO_AF4_TIM22;
  HAL_GPIO_Init(GPIOB, &GPIO_InitStruct);

}

void HAL_TIM_PeriodElapsedCallback(TIM_HandleTypeDef *htim)
{
  if (htim->Instance == TIM2) {
    HAL_IncTick();
  }
}

void Error_Handler(void)
{
  __disable_irq();
  while (1)
  {
  }
}
